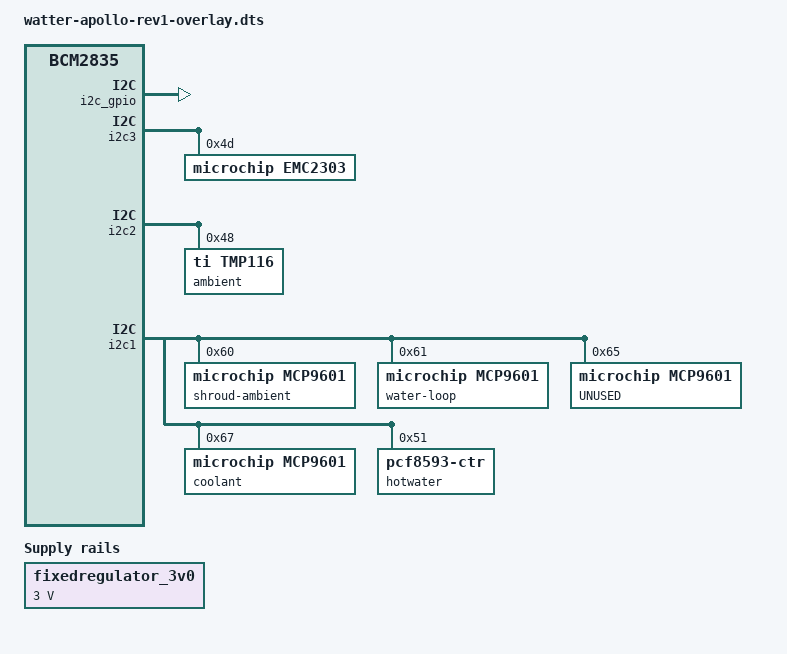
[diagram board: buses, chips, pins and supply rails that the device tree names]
// Definitions for WATTER Apollo RPi Board
/dts-v1/;
/plugin/;

#include "i2c-buses.dtsi"
#include <dt-bindings/thermal/thermal.h>
#include <dt-bindings/iio/temperature/thermocouple.h>

/ {
	compatible = "brcm,bcm2835";

	fragment@0 {
		target = <&i2c_gpio>;
		__overlay__ {
			#address-cells = <1>;
			#size-cells = <0>;
			status = "okay";

			flow_3: pcf8593@51 {
				compatible = "pcf8593-ctr";
				reg = <0x51>;
				status = "disabled";
			};
		};
	};

	fragment@1 {
		target = <&i2c3>;
		__overlay__ {
			#address-cells = <1>;
			#size-cells = <0>;
			status = "okay";

			emc2303: emc2303@4d {
				compatible = "microchip,emc2303";
				emc2305,pwm-channel = <1>;
				reg = <0x4d>;
				#cooling-cells = <0x02>;
			};

			flow_2: pcf8593@51 {
				compatible = "pcf8593-ctr";
				reg = <0x51>;
				status = "disabled";
			};
		};
	};

	fragment@2 {
		target = <&i2c2>;
		__overlay__ {
			#address-cells = <1>;
			#size-cells = <0>;
			status = "okay";

			tmp116: tmp116@48 {
				compatible = "ti,tmp116";
				reg = <0x48>;
				label = "ambient";
				#thermal-sensor-cells = <0>;
			};
		};
	};

	fragment@3 {
		target = <&i2c1>;
		__overlay__ {
			#address-cells = <1>;
			#size-cells = <0>;
			status = "okay";

			thermo_1: mcp9600@60 {
				compatible = "microchip,mcp9601";
				reg = <0x60>;
				thermocouple-type = <THERMOCOUPLE_TYPE_K>;
				label = "shroud-ambient";
			};

			thermo_2: mcp9600@61 {
				compatible = "microchip,mcp9601";
				reg = <0x61>;
				thermocouple-type = <THERMOCOUPLE_TYPE_K>;
				label = "water-loop";
			};

			thermo_3: mcp9600@65 {
				compatible = "microchip,mcp9601";
				reg = <0x65>;
				thermocouple-type = <THERMOCOUPLE_TYPE_K>;
				label = "UNUSED";
			};

			thermo_4: mcp9600@67 {
				compatible = "microchip,mcp9601";
				reg = <0x67>;
				thermocouple-type = <THERMOCOUPLE_TYPE_K>;
				label = "coolant";
			};

			flow_1: pcf8593@51 {
				compatible = "pcf8593-ctr";
				reg = <0x51>;
				/* <INT MICRO> */
				scale = <450 0>;
				label = "hotwater";
			};
		};
	};

	fragment@4 {
		target-path = "/thermal-zones";
		__overlay__ {
			watter_thermal: watter-thermal {
				polling-delay-passive = <1000>;
				polling-delay = <2000>;
				coefficients = <(-556) 418000>;

				thermal-sensors = <&tmp116>;

				watter_cooling_maps: cooling-maps {
					watter_map0: watter-map0 {
						trip = <&watter_fanmid0>;
						cooling-device = <&emc2303 2 6>;
					};
					watter_map1: watter-map1 {
						trip = <&watter_fanmax0>;
						cooling-device = <&emc2303 7 THERMAL_NO_LIMIT>;
					};
				};

				watter_trips: trips {
					watter_fanmid0: watter-fanmid0 {
						temperature = <50000>;
						hysteresis = <2000>;
						type = "passive";
					};
					watter_fanmax0: watter-fanmax0 {
						temperature = <75000>;
						hysteresis = <2000>;
						type = "passive";
					};
				};
			};
		};
	};

	fragment@5 {
                target-path = "/axi/pcie@1000120000/rp1/i2c@78000/mcp@20";
                __overlay__ {
			gpio-line-names =
				"pc-power-button",
				"valve-actuate",
				"pc-contactor",
				"heat-element",
				"water-pump",
				"coolant-pump",
				"flow-reset-1",
				"flow-reset-2",
				"flow-reset-3",
				"conversion-start-thermistor",
				"conversion-start-ac-monitor",
				"valve-opened",
				"valve-closed";
		};
        };

	fragment@6 {
		target-path = "/";

		__overlay__ {
			fixedregulator_3v0: fixedregulator_3v0 {
				compatible = "regulator-fixed";
				regulator-name = "3v0";
				regulator-min-microvolt = <3000000>; // 3.0V
				regulator-max-microvolt = <3000000>; // 3.0V
				regulator-always-on; // Regulator is always enabled
			};
                };
        };

	__exports__ {
		fixedregulator_3v0 = <&fixedregulator_3v0>;
	};

	__overrides__ {
	};
};
